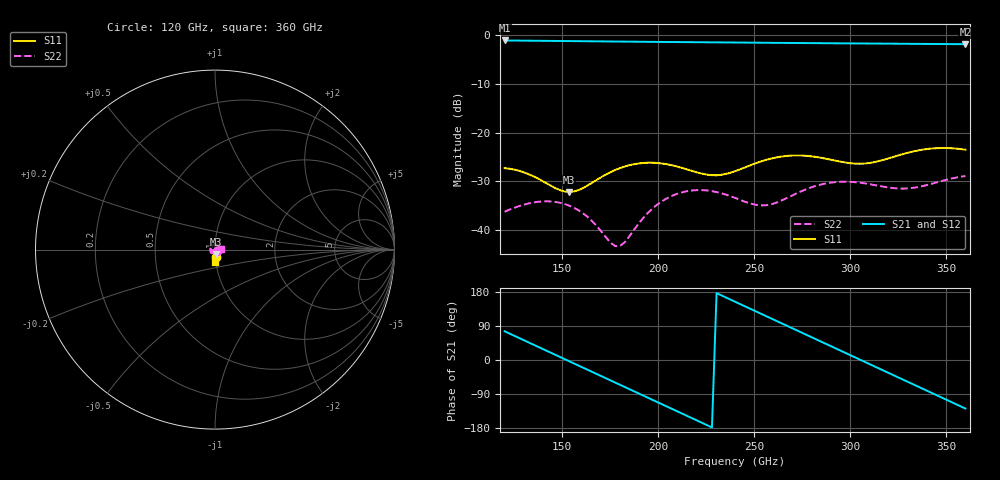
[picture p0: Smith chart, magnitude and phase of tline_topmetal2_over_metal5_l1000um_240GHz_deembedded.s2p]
! Created with skrf 2.0.1 (http://scikit-rf.org).
# GHz S DB R 50.0
!freq dBS11 angS11 dBS21 angS21 dBS12 angS12 dBS22 angS22
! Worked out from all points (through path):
!   101 points, 120 GHz to 360 GHz, reference 50 ohm
!   highest |S21| = -1.11 dB at 120 GHz (marker M1); lowest = -1.9 dB at 360 GHz (marker M2)
!   group delay of S21, straight-line fit = 6.53 ps
!   lowest |S11| = -32.2 dB at 153.6 GHz (marker M3), VSWR 1.05, Z = 50.2 - j2.46 ohm
!   |S11| at or under -10 dB: start of sweep to end of sweep
!   |S22| runs from -43.3 to -28.9 dB; largest |S21 - S12| = 1.5e-12
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120  -27.29 -81.9  -1.11 75.8  -1.11 75.8  -36.22 -36.0
139.2  -29.82 -98.4  -1.19 30.6  -1.19 30.6  -34.12 -61.0
153.6  -32.18 -83.3  -1.24 -3.2  -1.24 -3.2  -34.97 -93.7
160.8  -31.37 -70.9  -1.27 -20.1  -1.27 -20.1  -36.53 -115.0
180  -27.29 -69.9  -1.34 -65.2  -1.34 -65.2  -43.28 125.8
189.6  -26.33 -78.2  -1.38 -87.8  -1.38 -87.8  -38.75 54.9
201.6  -26.32 -88.6  -1.42 -115.9  -1.42 -115.9  -34.17 5.6
220.8  -28.23 -92.6  -1.47 -161.0  -1.47 -161.0  -31.78 -59.7
230.4  -28.75 -84.3  -1.50 176.4  -1.50 176.4  -32.19 -94.7
240  -27.92 -75.6  -1.53 153.8  -1.53 153.8  -33.38 -135.2
252  -26.12 -74.0  -1.57 125.6  -1.57 125.6  -34.88 160.7
261.6  -25.09 -78.5  -1.60 103.1  -1.60 103.1  -34.35 103.4
271.2  -24.69 -84.7  -1.63 80.5  -1.63 80.5  -32.62 53.4
280.8  -24.92 -90.0  -1.66 58.0  -1.66 58.0  -31.08 11.1
292.8  -25.79 -91.8  -1.69 29.8  -1.69 29.8  -30.13 -37.4
302.4  -26.36 -87.3  -1.72 7.2  -1.72 7.2  -30.16 -76.4
312  -26.10 -80.4  -1.75 -15.3  -1.75 -15.3  -30.70 -118.5
321.6  -25.09 -76.6  -1.77 -37.9  -1.77 -37.9  -31.34 -165.5
331.2  -24.02 -77.6  -1.80 -60.4  -1.80 -60.4  -31.40 143.5
340.8  -23.33 -81.8  -1.83 -83.0  -1.83 -83.0  -30.66 93.6
350.4  -23.17 -86.9  -1.85 -105.5  -1.85 -105.5  -29.65 48.1
360  -23.50 -90.6  -1.88 -128.1  -1.88 -128.1  -28.90 6.1
